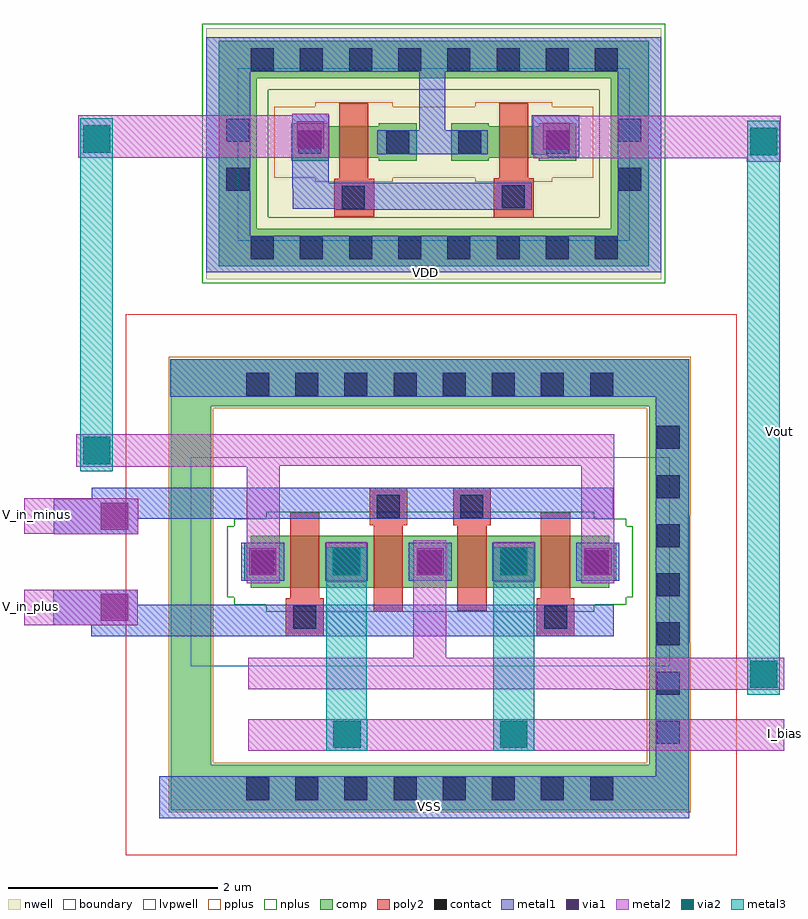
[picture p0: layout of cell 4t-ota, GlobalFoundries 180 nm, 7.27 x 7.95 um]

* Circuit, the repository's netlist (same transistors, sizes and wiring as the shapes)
* NGSPICE file created from 4t-ota_layout.ext - technology: gf180mcuD

.subckt pfet_03v3_RFU83T a_181_n6# a_n125_n6# a_33_n12# w_n435_n238# a_n190_n119#
+ a_n273_n12#
X0 a_181_n6# a_n190_n119# a_33_n12# w_n435_n238# pfet_03v3 ad=0.1596p pd=1.64u as=0.1596p ps=1.64u w=0.3u l=0.28u
X1 a_n125_n6# a_n190_n119# a_n273_n12# w_n435_n238# pfet_03v3 ad=0.1596p pd=1.64u as=0.1596p ps=1.64u w=0.3u l=0.28u
.ends

.subckt nfet_03v3_AZGML9 VSS a_n52_n50# a_n276_70# a_n212_n50# a_n356_n36# a_n116_n142#
X0 a_n212_n50# a_n116_n142# a_n52_n50# VSS nfet_03v3 ad=0.13p pd=1.02u as=0.13p ps=1.02u w=0.5u l=0.28u
X1 a_n356_n36# a_n276_70# a_n212_n50# VSS nfet_03v3 ad=0.2109p pd=1.88u as=0.13p ps=1.02u w=0.5u l=0.28u
X2 a_n52_n50# a_n116_n142# a_n212_n50# VSS nfet_03v3 ad=0.13p pd=1.02u as=0.13p ps=1.02u w=0.5u l=0.28u
X3 a_n212_n50# a_n276_70# a_n356_n36# VSS nfet_03v3 ad=0.13p pd=1.02u as=0.2109p ps=1.88u w=0.5u l=0.28u
.ends

.subckt x4t-ota_layout I_bias V_in_minus V_in_plus VDD Vout VSS
Xpfet_03v3_RFU83T_0 Vout VDD VDD VDD m1_1452_455# m1_1452_455# pfet_03v3_RFU83T
Xnfet_03v3_AZGML9_0 VSS Vout V_in_plus I_bias m1_1452_455# V_in_minus nfet_03v3_AZGML9
.ends

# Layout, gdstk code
import gdstk
lib = gdstk.Library(unit=1e-6, precision=1e-09)
def R(c, l, rs):  # rectangles x0, y0, x1, y1
    for r in rs: c.add(gdstk.rectangle(r[:2], r[2:], *l))
def A(c, l, x, y, w, h, nx, ny, dx, dy):  # array of equal rectangles
    R(c, l, [(x+i*dx, y+j*dy, x+i*dx+w, y+j*dy+h) for i in range(nx) for j in range(ny)])
boundary = (0, 0)
nwell = (21, 0)
comp = (22, 0)
poly2 = (30, 0)
pplus = (31, 0)
nplus = (32, 0)
contact = (33, 0)
metal1 = (34, 0)
via1 = (35, 0)
metal2 = (36, 0)
via2 = (38, 0)
metal3 = (42, 0)
lvpwell = (204, 0)

pfet_03v3_rfu83t = lib.new_cell('pfet_03v3_RFU83T')
R(pfet_03v3_rfu83t, boundary, [(-1.875,-0.825,1.875,0.825)])
R(pfet_03v3_rfu83t, nwell, [(-2.175,-1.19,2.175,1.21)])
R(pfet_03v3_rfu83t, comp, [(-2.055,-1.07,2.055,-0.71), (-2.055,-0.71,-1.695,0.73), (1.695,-0.71,2.055,0.73), (-1.365,-0.06,-1.005,-0.03), (-0.525,-0.06,-0.165,-0.03), (0.165,-0.06,0.525,-0.03), (1.005,-0.06,1.365,-0.03), (-1.365,-0.03,-0.165,0.27), (0.165,-0.03,1.365,0.27), (-1.365,0.27,-1.005,0.3), (-0.525,0.27,-0.165,0.3), (0.165,0.27,0.525,0.3), (1.005,0.27,1.365,0.3), (-2.055,0.73,2.055,1.09)])
R(pfet_03v3_rfu83t, poly2, [(0.575,-0.605,0.955,-0.225), (-0.95,-0.595,-0.57,-0.23), (-0.905,-0.23,-0.625,0.49), (0.625,-0.225,0.905,0.49)])
R(pfet_03v3_rfu83t, pplus, [(-1.135,-0.26,-0.395,-0.22), (0.395,-0.26,1.135,-0.22), (-1.525,-0.22,1.525,0.46), (-1.135,0.46,-0.395,0.5), (0.395,0.46,1.135,0.5)])
R(pfet_03v3_rfu83t, nplus, [(-2.215,-1.23,2.215,-0.6), (-2.215,-0.6,-1.585,0.62), (1.585,-0.6,2.215,0.62), (-2.215,0.62,2.215,1.25)])
R(pfet_03v3_rfu83t, contact, [(-0.88,-0.52,-0.66,-0.3), (0.65,-0.515,0.87,-0.295), (-1.985,-0.345,-1.765,-0.125), (1.765,-0.345,1.985,-0.125), (-1.295,0.01,-1.075,0.23), (-0.455,0.01,-0.235,0.23), (0.235,0.01,0.455,0.23), (1.075,0.01,1.295,0.23), (-1.985,0.125,-1.765,0.345), (1.765,0.125,1.985,0.345)])
R(pfet_03v3_rfu83t, metal1, [(-1.99,-0.71,-1.76,0.71), (1.76,-0.71,1.99,0.71), (-0.94,-0.525,0.935,-0.275), (-1.355,0.005,-1.015,0.235), (-0.515,0.005,-0.175,0.235), (0.175,0.005,0.515,0.235), (1.015,0.005,1.355,0.235)])

nfet_03v3_azgml9 = lib.new_cell('nfet_03v3_AZGML9')
R(nfet_03v3_azgml9, boundary, [(-2.29,-1,2.29,1)])
R(nfet_03v3_azgml9, comp, [(-2.48,-1.94,2.475,-1.49), (-2.48,-1.49,-2.095,1.94), (2.095,-1.49,2.475,-0.465), (2.095,-0.465,2.47,0.8), (-1.715,-0.25,1.715,-0.18), (-1.78,-0.18,1.78,0.18), (-1.715,0.18,1.715,0.25), (2.095,0.8,2.475,1.94), (-2.48,1.94,2.475,2.375)])
R(nfet_03v3_azgml9, poly2, [(-0.58,-0.71,-0.22,-0.35), (0.22,-0.71,0.58,-0.35), (-1.34,-0.47,-1.06,0.35), (1.06,-0.47,1.34,0.35), (-0.54,-0.35,-0.26,0.48), (0.26,-0.35,0.54,0.47), (-1.38,0.35,-1.02,0.71), (1.02,0.35,1.38,0.71)])
R(nfet_03v3_azgml9, pplus, [(-2.5,-1.96,2.495,-1.47), (-2.5,-1.47,-2.075,1.92), (2.07,-1.47,2.495,-0.445), (2.07,-0.445,2.49,0.78), (2.07,0.78,2.495,1.92), (-2.5,1.92,2.495,2.395)])
R(nfet_03v3_azgml9, nplus, [(-1.57,-0.48,1.57,-0.41), (-1.875,-0.41,1.875,-0.34), (-1.94,-0.34,1.94,0.34), (-1.875,0.34,1.875,0.41), (-1.57,0.41,1.57,0.48)])
A(nfet_03v3_azgml9, contact, -1.76, -1.81, 0.22, 0.22, 8, 2, 0.47, 3.87)
A(nfet_03v3_azgml9, contact, 2.17, -1.3, 0.22, 0.22, 1, 7, 0, 0.47)
A(nfet_03v3_azgml9, contact, -1.71, -0.11, 0.22, 0.22, 5, 1, 0.8, 0)
R(nfet_03v3_azgml9, contact, [(-0.51,-0.64,-0.29,-0.42), (0.29,-0.64,0.51,-0.42), (-1.31,0.42,-1.09,0.64), (1.09,0.42,1.31,0.64)])
A(nfet_03v3_azgml9, metal1, -1.805, -0.18, 0.41, 0.36, 4, 1, 0.8, 0)
R(nfet_03v3_azgml9, metal1, [(-2.145,-1.875,2.45,-1.58), (2.165,-1.58,2.45,2.05), (-3.235,-0.71,1.75,-0.605), (-3.6,-0.605,1.75,-0.41), (-3.6,-0.41,-2.79,-0.265), (1.4,-0.18,1.81,0.18), (-3.605,0.265,-2.795,0.41), (-3.605,0.41,1.755,0.605), (-3.24,0.605,1.755,0.71), (-2.145,2.05,2.45,2.345)])
A(nfet_03v3_azgml9, via1, -1.73, -0.13, 0.26, 0.26, 4, 1, 0.8, 0)
R(nfet_03v3_azgml9, via1, [(-3.15,-0.565,-2.89,-0.305), (1.475,-0.13,1.735,0.13), (-3.15,0.305,-2.89,0.565)])
R(nfet_03v3_azgml9, metal2, [(-1.755,-1.22,1.76,-0.92), (-1.755,-0.92,-1.44,0.205), (1.445,-0.92,1.76,0.205), (-3.6,-0.605,-2.79,-0.265), (-0.16,-0.205,0.155,0.92), (-0.995,-0.19,-0.605,0.195), (0.605,-0.19,0.995,0.195), (-3.605,0.265,-2.795,0.605), (-1.74,0.92,1.755,1.22), (-1.74,1.505,1.755,1.805)])
R(nfet_03v3_azgml9, via2, [(-0.93,-0.13,-0.67,0.13), (0.67,-0.13,0.93,0.13), (-0.925,1.52,-0.665,1.78), (0.67,1.52,0.93,1.78)])
R(nfet_03v3_azgml9, metal3, [(-0.995,-0.14,-0.605,1.505), (0.605,-0.14,0.995,1.805), (-0.995,1.505,-0.6,1.805)])
R(nfet_03v3_azgml9, lvpwell, [(-2.91,-2.37,2.935,2.805)])
nfet_03v3_azgml9.add(gdstk.Label('VSS', (-0.175,-1.875), layer=34, texttype=10))

c_4t_ota = lib.new_cell('4t-ota')
R(c_4t_ota, nwell, [(6.86,1.59,10.38,1.82), (6.86,3.39,10.38,3.62)])
R(c_4t_ota, comp, [(6.86,1.59,10.38,1.82), (6.86,3.39,10.38,3.62)])
R(c_4t_ota, nplus, [(6.7,1.43,10.54,1.98), (6.7,3.23,10.54,3.78)])
A(c_4t_ota, contact, 6.865, 1.595, 0.22, 0.22, 8, 2, 0.47, 1.8)
R(c_4t_ota, metal1, [(5.99,-3.755,11.06,-3.35), (10.74,-3.35,11.06,0.28), (6.095,0.28,11.06,0.64), (6.44,1.47,10.79,1.82), (6.44,1.82,6.86,3.39), (10.375,1.82,10.79,3.39), (7.265,2.075,9.545,2.275), (7.26,2.275,9.545,2.325), (7.26,2.325,7.61,2.985), (9.705,2.57,10.005,2.595), (9.6,2.595,10.005,2.6), (8.075,2.6,9.105,2.83), (9.55,2.6,10.005,2.97), (8.475,2.83,8.725,3.39), (6.44,3.39,10.79,3.72)])
R(c_4t_ota, via1, [(9.655,2.64,9.915,2.9), (7.305,2.655,7.565,2.915)])
R(c_4t_ota, metal2, [(9.92,-3.105,11.965,-2.805), (10.33,-2.525,11.965,-2.22), (4.695,-1.905,5.785,-1.565), (4.695,-1.03,5.715,-0.69), (5.195,-0.39,6.825,-0.08), (11.61,2.525,11.935,2.56), (9.565,2.56,11.935,2.965), (5.215,2.565,7.615,2.97), (7.26,2.97,7.61,2.985)])
R(c_4t_ota, via2, [(11.64,-2.505,11.9,-2.245), (5.26,-0.365,5.52,-0.105), (11.64,2.59,11.9,2.85), (5.26,2.615,5.52,2.875)])
R(c_4t_ota, metal3, [(11.615,-2.57,11.925,2.92), (5.235,-0.435,5.545,2.945)])
c_4t_ota.add(gdstk.Reference(pfet_03v3_rfu83t, (8.615,2.595)))
c_4t_ota.add(gdstk.Reference(nfet_03v3_azgml9, (8.58,-1.3), x_reflection=True))
c_4t_ota.add(gdstk.Label('I_bias', (11.965,-2.945), layer=36, texttype=10))
c_4t_ota.add(gdstk.Label('V_in_minus', (4.7,-0.845), layer=36, texttype=10))
c_4t_ota.add(gdstk.Label('V_in_plus', (4.7,-1.73), layer=36, texttype=10))
c_4t_ota.add(gdstk.Label('VDD', (8.54,1.47), layer=34, texttype=10))
c_4t_ota.add(gdstk.Label('Vout', (11.925,-0.055), layer=42, texttype=10))
c_4t_ota.add(gdstk.Label('VSS', (8.575,-3.645), layer=34, texttype=10))

lib.write_gds('4t-ota.gds')
